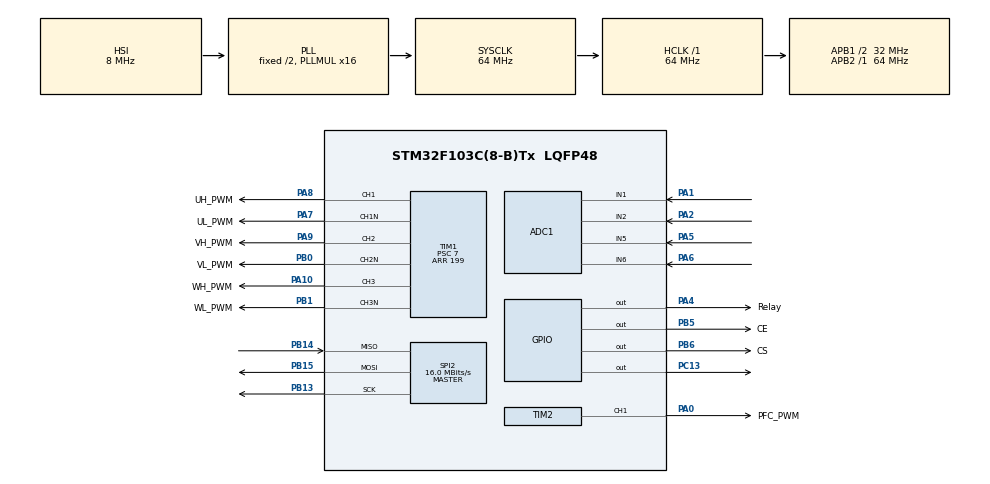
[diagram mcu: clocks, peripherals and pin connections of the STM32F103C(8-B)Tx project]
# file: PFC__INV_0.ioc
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ADC1.Channel-0\#ChannelRegularConversion=ADC_CHANNEL_1
ADC1.ContinuousConvMode=ENABLE
ADC1.ExternalTrigConv=ADC_EXTERNALTRIGCONV_T3_TRGO
ADC1.NbrOfConversion=1
ADC1.NbrOfConversionFlag=1
ADC1.Rank-0\#ChannelRegularConversion=1
ADC1.SamplingTime-0\#ChannelRegularConversion=ADC_SAMPLETIME_1CYCLE_5
ADC1.master=1
Dma.ADC1.0.Direction=DMA_PERIPH_TO_MEMORY
Dma.ADC1.0.Instance=DMA1_Channel1
Dma.ADC1.0.MemDataAlignment=DMA_MDATAALIGN_HALFWORD
Dma.ADC1.0.MemInc=DMA_MINC_ENABLE
Dma.ADC1.0.Mode=DMA_NORMAL
Dma.ADC1.0.PeriphDataAlignment=DMA_PDATAALIGN_HALFWORD
Dma.ADC1.0.PeriphInc=DMA_PINC_DISABLE
Dma.ADC1.0.Priority=DMA_PRIORITY_LOW
Dma.Request0=ADC1
Mcu.Family=STM32F1
Mcu.Name=STM32F103C(8-B)Tx
Mcu.Package=LQFP48
NVIC.DMA1_Channel1_IRQn=true\:0\:0\:false\:false\:true\:false\:true\:true
NVIC.PriorityGroup=NVIC_PRIORITYGROUP_4
NVIC.TIM1_UP_IRQn=true\:2\:0\:true\:false\:true\:true\:true\:true
PA0-WKUP.GPIO_Label=PFC_PWM
PA0-WKUP.Signal=S_TIM2_CH1_ETR
PA1.Signal=ADCx_IN1
PA10.GPIO_Label=WH_PWM
PA10.Signal=S_TIM1_CH3
PA13.Mode=Serial_Wire
PA13.Signal=SYS_JTMS-SWDIO
PA14.Mode=Serial_Wire
PA14.Signal=SYS_JTCK-SWCLK
PA2.Signal=ADCx_IN2
PA4.GPIO_Label=Relay
PA4.Signal=GPIO_Output
PA5.Signal=ADCx_IN5
PA6.Signal=ADCx_IN6
PA7.GPIO_Label=UL_PWM
PA7.Mode=PWM Generation1 CH1 CH1N
PA7.Signal=TIM1_CH1N
PA8.GPIO_Label=UH_PWM
PA8.Signal=S_TIM1_CH1
PA9.GPIO_Label=VH_PWM
PA9.Signal=S_TIM1_CH2
PB0.GPIO_Label=VL_PWM
PB0.Mode=PWM Generation2 CH2 CH2N
PB0.Signal=TIM1_CH2N
PB1.GPIO_Label=WL_PWM
PB1.Mode=PWM Generation3 CH3 CH3N
PB1.Signal=TIM1_CH3N
PB13.Mode=Full_Duplex_Master
PB13.Signal=SPI2_SCK
PB14.Mode=Full_Duplex_Master
PB14.Signal=SPI2_MISO
PB15.Mode=Full_Duplex_Master
PB15.Signal=SPI2_MOSI
PB5.GPIO_Label=CE
PB5.Signal=GPIO_Output
PB6.GPIO_Label=CS
PB6.Signal=GPIO_Output
PC13-TAMPER-RTC.Signal=GPIO_Output
ProjectManager.HeapSize=0x200
ProjectManager.StackSize=0x400
ProjectManager.TargetToolchain=STM32CubeIDE
RCC.ADCPresc=RCC_ADCPCLK2_DIV6
RCC.AHBFreq_Value=64000000
RCC.APB1CLKDivider=RCC_HCLK_DIV2
RCC.APB1Freq_Value=32000000
RCC.APB1TimFreq_Value=64000000
RCC.APB2Freq_Value=64000000
RCC.APB2TimFreq_Value=64000000
RCC.HCLKFreq_Value=64000000
RCC.PLLMUL=RCC_PLL_MUL16
RCC.SYSCLKFreq_VALUE=64000000
RCC.SYSCLKSource=RCC_SYSCLKSOURCE_PLLCLK
RCC.USBFreq_Value=64000000
SH.ADCx_IN1.0=ADC1_IN1,IN1
SH.ADCx_IN2.0=ADC1_IN2,IN2
SH.ADCx_IN5.0=ADC1_IN5,IN5
SH.ADCx_IN6.0=ADC1_IN6,IN6
SH.S_TIM1_CH1.0=TIM1_CH1,PWM Generation1 CH1 CH1N
SH.S_TIM1_CH2.0=TIM1_CH2,PWM Generation2 CH2 CH2N
SH.S_TIM1_CH3.0=TIM1_CH3,PWM Generation3 CH3 CH3N
SH.S_TIM2_CH1_ETR.0=TIM2_CH1,PWM Generation1 CH1
SPI2.CalculateBaudRate=16.0 MBits/s
SPI2.Direction=SPI_DIRECTION_2LINES
SPI2.Mode=SPI_MODE_MASTER
SPI2.VirtualType=VM_MASTER
TIM1.Channel-PWM\ Generation1\ CH1\ CH1N=TIM_CHANNEL_1
TIM1.Channel-PWM\ Generation2\ CH2\ CH2N=TIM_CHANNEL_2
TIM1.Channel-PWM\ Generation3\ CH3\ CH3N=TIM_CHANNEL_3
TIM1.CounterMode=TIM_COUNTERMODE_CENTERALIGNED1
TIM1.DeadTime=15
TIM1.Period=199
TIM1.Prescaler=7
TIM2.Channel-PWM\ Generation1\ CH1=TIM_CHANNEL_1
TIM2.Period=399
TIM3.Period=199
TIM3.Prescaler=63
TIM3.TIM_MasterOutputTrigger=TIM_TRGO_UPDATE
VP_TIM3_VS_ClockSourceINT.Mode=Internal
board=custom

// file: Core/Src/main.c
/* USER CODE BEGIN Header */
/**
  ******************************************************************************
  * @file           : main.c
  * @brief          : Main program body
  ******************************************************************************
  * @attention
  *
  * Copyright (c) 2025 STMicroelectronics.
  * All rights reserved.
  *
  * This software is licensed under terms that can be found in the LICENSE file
  * in the root directory of this software component.
  * If no LICENSE file comes with this software, it is provided AS-IS.
  *
  ******************************************************************************
  */
/* USER CODE END Header */
#include "main.h"

/* USER CODE BEGIN Includes */
#include "math.h"
#include <stdio.h>
#include <stdbool.h>
#include "MY_NRF24.h"
#include "string.h"
#include "stdlib.h"   // cho atoi()

#define LED_ON()  HAL_GPIO_WritePin(GPIOC, GPIO_PIN_13, GPIO_PIN_RESET)
#define LED_OFF() HAL_GPIO_WritePin(GPIOC, GPIO_PIN_13, GPIO_PIN_SET)
#define RX_ADDRESS   0x0101010101LL
#define TX_ADDRESS   0x0202020202LL

#define PWM_UPDATE_HZ      20000U
#define SVM_TABLE_MAX    2500

#define INV_SECTOR_WIDTH   (TWO_PI / 6.0f)
#define PWM_PERIOD_COUNTS  (htim1.Init.Period + 1)
#define FREQ_MIN   4.0f
#define FREQ_MAX   50.0f
#define PI          3.14159265
#define PWM_FREQ    5000.0        // 5kHz
#define Ts          (1.0 / PWM_FREQ)
#define VDC         24         // DC bus voltage
#define TWO_PI      (2 * PI)
#define RX_BUFFER_SIZE 20
float theta = 0.0;

float freq_out;
float t = 0.0;
float Vs, m, alpha, T1, T2, T0;

/* USER CODE END Includes */

/* USER CODE BEGIN PD */
#define ADC_TOTAL_SAMPLES        200      // số điểm cuối cùng để gửi
#define ADC_SAMPLES_PER_PACKET   8
#define ADC_TOTAL_PACKETS       25
#define FEEDBACK_PACKET_TYPE     0xA5

#define ADC_SAMPLE_RATE_HZ       5000U   // 200 mẫu / 40ms
#define ADC_CAPTURE_TIME_MS      40U     // 2 chu kì 50Hz

#define DUTY_MIN   0.05f
#define DUTY_MAX   0.95f
/* USER CODE END PD */

ADC_HandleTypeDef hadc1;
DMA_HandleTypeDef hdma_adc1;

SPI_HandleTypeDef hspi2;

TIM_HandleTypeDef htim1;
TIM_HandleTypeDef htim2;
TIM_HandleTypeDef htim3;

/* USER CODE BEGIN PV */
// --- THÔNG SỐ ĐỘNG CƠ CẬP NHẬT MỚI ---
// Cấu hình 4 kênh thượng tầng né hoàn toàn Wi-Fi giống bên Remote
const uint8_t HOPPING_CHANNELS[4] = {85, 100, 115, 125};
#define NUM_HOP_CHANNELS 4
//Biến toàn cục theo dõi kênh hiện tại của Biến tần khi Debug
volatile uint8_t current_receiver_channel = 0;
volatile uint32_t last_remote_heartbeat_tick = 0;

volatile float motor_cos_phi = 0.98f;     // Hệ số công suất
volatile float i_rms_set = 0.0f;          // Biến lưu kết quả dòng điện pha RMS đặt (Ampe)
// -------------------------------------
volatile float Vs_local;

volatile uint8_t tx_frame_active = 0;
volatile uint8_t tx_frame_done = 0;

volatile uint16_t svm_ccr1[SVM_TABLE_MAX];
volatile uint16_t svm_ccr2[SVM_TABLE_MAX];
volatile uint16_t svm_ccr3[SVM_TABLE_MAX];

volatile uint16_t svm_table_size = 100;
volatile uint16_t svm_index = 0;
volatile uint8_t  svm_enable = 0;
volatile uint8_t svm_need_rebuild = 0;
volatile uint32_t ramp_tick_div = 0;
volatile float last_freq_for_rebuild = 0.0f;

volatile bool ok;
volatile uint8_t adc_busy = 0;
volatile uint8_t adc_ready = 0;

#define ADC_CHANNELS 4
uint16_t adc_buffer[ADC_TOTAL_SAMPLES];
uint16_t adc_copy[ADC_TOTAL_SAMPLES];
volatile uint8_t adc_frame_id = 0;

volatile float V_F_K = 1.0f;
volatile float V_f_freq =  FREQ_MIN;
volatile float freq_cmd = FREQ_MIN;   // từ biến trở
volatile float freq_run = FREQ_MIN;   // dùng trong SVM
float target_freq = FREQ_MIN;
volatile bool status = 0.0f;
typedef struct __attribute__((packed))
{
    uint8_t type;          // FEEDBACK_PACKET_TYPE
    uint8_t state;         // on/off
    uint8_t frame_id;      // ID frame ADC
    uint8_t packet_id;     // 0..24
    uint16_t freq_set_x10; // Tần số đặt x10
    uint16_t freq_act_x10; // Tần số thực x10
    uint16_t rms_set_x10;  // Dòng đặt x10
    uint16_t rms_act_x10;  // Dòng thực / Điện áp Avg x10
    uint16_t min_adc;      // Đáy sóng (tính tại gốc)
    uint16_t max_adc;      // Đỉnh sóng (tính tại gốc)
    uint16_t samples[ADC_SAMPLES_PER_PACKET]; // Mảng 8 mẫu (16 bytes)
} FeedbackPacket_t;

// --- CÁC BIẾN CHO MÁY TRẠNG THÁI GỬI DỮ LIỆU ---
FeedbackPacket_t tx_packets_buffer[ADC_TOTAL_PACKETS];
volatile uint8_t packets_to_send = 0;
volatile uint8_t current_packet_idx = 0;
uint32_t last_tx_time = 0;
typedef struct {
     uint8_t cmd;
     uint8_t state;
     uint8_t speed;
     uint8_t wave_select; // Kênh sóng yêu cầu từ màn hình
 } Payload_t;

 Payload_t rx; // Biến lưu dữ liệu nhận được
 typedef struct {
     uint8_t on_off;
     uint8_t speed;
     uint8_t wave_select; // Lưu trạng thái kênh hiện tại
 } SystemState_t;

 SystemState_t system_state = {0,0,0};

 volatile uint8_t flag_new_data = 0;

	//Dieu che SVM
// void SVM_Update(void)
// {
//     // 1) Tính biên độ theo V/f
//     Vs = V_F_K * freq_run;
//     m  = Vs / VDC;
//
//     // Giới hạn modulation index
//     if (m > 0.866f) m = 0.866f;
//     if (m < 0.0f)   m = 0.0f;
//
//     // 2) Cập nhật góc điện
//     theta += TWO_PI * freq_run * Ts;
//
//     if (theta >= TWO_PI)
//         theta -= TWO_PI;
//     else if (theta < 0.0f)
//         theta += TWO_PI;
//
//     // 3) Xác định sector (1..6) và vị trí nội bộ trong sector
//     uint8_t sector = (uint8_t)(theta / INV_SECTOR_WIDTH);   // 0..5
//     float theta_sector = theta - ((float)sector * INV_SECTOR_WIDTH);
//     float u = theta_sector / INV_SECTOR_WIDTH;              // 0..1
//
//     // 4) Xấp xỉ nhẹ cho T1, T2 (bỏ sin/cos/sqrt/fmod)
//     //    Giữ nguyên tinh thần SVM: vector đầu giảm, vector sau tăng
//     float K = Ts * m;
//
//     T1 = K * (1.0f - u);
//     T2 = K * u;
//     T0 = Ts - T1 - T2;
//
//     if (T0 < 0.0f) T0 = 0.0f;
//
//     // 5) Tính duty cho 3 pha theo từng sector
//     float Ta, Tb, Tc;
//
//     switch (sector)
//     {
//         case 0: // sector 1
//             Ta = (T1 + T2 + T0 * 0.5f) / Ts;
//             Tb = (T2 + T0 * 0.5f) / Ts;
//             Tc = (T0 * 0.5f) / Ts;
//             break;
//
//         case 1: // sector 2
//             Ta = (T1 + T0 * 0.5f) / Ts;
//             Tb = (T1 + T2 + T0 * 0.5f) / Ts;
//             Tc = (T0 * 0.5f) / Ts;
//             break;
//
//         case 2: // sector 3
//             Ta = (T0 * 0.5f) / Ts;
//             Tb = (T1 + T2 + T0 * 0.5f) / Ts;
//             Tc = (T2 + T0 * 0.5f) / Ts;
//             break;
//
//         case 3: // sector 4
//             Ta = (T0 * 0.5f) / Ts;
//             Tb = (T1 + T0 * 0.5f) / Ts;
//             Tc = (T1 + T2 + T0 * 0.5f) / Ts;
//             break;
//
//         case 4: // sector 5
//             Ta = (T2 + T0 * 0.5f) / Ts;
//             Tb = (T0 * 0.5f) / Ts;
//             Tc = (T1 + T2 + T0 * 0.5f) / Ts;
//             break;
//
//         default: // sector 6
//             Ta = (T1 + T2 + T0 * 0.5f) / Ts;
//             Tb = (T0 * 0.5f) / Ts;
//             Tc = (T1 + T0 * 0.5f) / Ts;
//             break;
//     }
//
//     // 6) Chặn duty an toàn
//     if (Ta < 0.0f) Ta = 0.0f; if (Ta > 1.0f) Ta = 1.0f;
//     if (Tb < 0.0f) Tb = 0.0f; if (Tb > 1.0f) Tb = 1.0f;
//     if (Tc < 0.0f) Tc = 0.0f; if (Tc > 1.0f) Tc = 1.0f;
//
//     // 7) Ghi CCR
//     uint16_t ccr1 = (uint16_t)(Ta * PWM_PERIOD_COUNTS);
//     uint16_t ccr2 = (uint16_t)(Tb * PWM_PERIOD_COUNTS);
//     uint16_t ccr3 = (uint16_t)(Tc * PWM_PERIOD_COUNTS);
//
//     if (ccr1 > htim1.Init.Period) ccr1 = htim1.Init.Period;
//     if (ccr2 > htim1.Init.Period) ccr2 = htim1.Init.Period;
//     if (ccr3 > htim1.Init.Period) ccr3 = htim1.Init.Period;
//
//     __HAL_TIM_SET_COMPARE(&htim1, TIM_CHANNEL_1, ccr1);
//     __HAL_TIM_SET_COMPARE(&htim1, TIM_CHANNEL_2, ccr2);
//     __HAL_TIM_SET_COMPARE(&htim1, TIM_CHANNEL_3, ccr3);
// }
 void Build_SVM_Table(float fout_hz)
 {
     if (fout_hz < 0.1f)
     {
         svm_enable = 0;
         svm_table_size = 1;
         svm_index = 0;
         svm_ccr1[0] = 0;
         svm_ccr2[0] = 0;
         svm_ccr3[0] = 0;
         return;
     }

     if (fout_hz > 50.0f) fout_hz = 50.0f;

     uint16_t N = 500;

     if (N < 12) N = 12;
     if (N > SVM_TABLE_MAX) N = SVM_TABLE_MAX;

     svm_table_size = N;
       Vs_local = V_F_K * fout_hz;
     float m_local  = Vs_local / VDC;

     if (m_local > 0.866f) m_local = 0.866f;  // Mở rộng không gian vector lên kịch trần
     if (m_local < 0.0f)   m_local = 0.0f;

     for (uint16_t i = 0; i < N; i++)
     {
         float theta_local = TWO_PI * ((float)i / (float)N);

         uint8_t sector = (uint8_t)(theta_local / INV_SECTOR_WIDTH); // 0..5
         if (sector > 5) sector = 5;

         float theta_sector = theta_local - ((float)sector * INV_SECTOR_WIDTH);
         float u = theta_sector / INV_SECTOR_WIDTH; // 0..1

         // SVM nhẹ tuyến tính theo sector

         // SVM chuẩn dùng sin → sóng mượt
         float T1n = 1.73205f * m_local * sinf(INV_SECTOR_WIDTH - theta_sector);
                  float T2n = 1.73205f * m_local * sinf(theta_sector);

                  float sum_T = T1n + T2n;
                  float T0n;

                  // Nếu tổng thời gian vượt quá 1 chu kỳ PWM, thu nhỏ T1 và T2 theo đúng tỷ lệ
                  if (sum_T > 1.0f)
                  {
                      T1n = T1n / sum_T;
                      T2n = T2n / sum_T;
                      T0n = 0.0f;
                  }
                  else
                  {
                      T0n = 1.0f - sum_T;
                  }

         float Ta, Tb, Tc;

         switch (sector)
         {
             case 0:
                 Ta = T1n + T2n + T0n * 0.5f;
                 Tb = T2n + T0n * 0.5f;
                 Tc = T0n * 0.5f;
                 break;

             case 1:
                 Ta = T1n + T0n * 0.5f;
                 Tb = T1n + T2n + T0n * 0.5f;
                 Tc = T0n * 0.5f;
                 break;

             case 2:
                 Ta = T0n * 0.5f;
                 Tb = T1n + T2n + T0n * 0.5f;
                 Tc = T2n + T0n * 0.5f;
                 break;

             case 3:
                 Ta = T0n * 0.5f;
                 Tb = T1n + T0n * 0.5f;
                 Tc = T1n + T2n + T0n * 0.5f;
                 break;

             case 4:
                 Ta = T2n + T0n * 0.5f;
                 Tb = T0n * 0.5f;
                 Tc = T1n + T2n + T0n * 0.5f;
                 break;

             default:
                 Ta = T1n + T2n + T0n * 0.5f;
                 Tb = T0n * 0.5f;
                 Tc = T1n + T0n * 0.5f;
                 break;
         }

         // Giới hạn duty an toàn
         if (Ta < DUTY_MIN) Ta = DUTY_MIN;
         if (Ta > DUTY_MAX) Ta = DUTY_MAX;

         if (Tb < DUTY_MIN) Tb = DUTY_MIN;
         if (Tb > DUTY_MAX) Tb = DUTY_MAX;

         if (Tc < DUTY_MIN) Tc = DUTY_MIN;
         if (Tc > DUTY_MAX) Tc = DUTY_MAX;

         uint16_t ccr1 = (uint16_t)(Ta * htim1.Init.Period);
         uint16_t ccr2 = (uint16_t)(Tb * htim1.Init.Period);
         uint16_t ccr3 = (uint16_t)(Tc * htim1.Init.Period);

         if (ccr1 > htim1.Init.Period) ccr1 = htim1.Init.Period;
         if (ccr2 > htim1.Init.Period) ccr2 = htim1.Init.Period;
         if (ccr3 > htim1.Init.Period) ccr3 = htim1.Init.Period;

         svm_ccr1[i] = ccr1;
         svm_ccr2[i] = ccr2;
         svm_ccr3[i] = ccr3;
     }

     svm_enable = 1;
     // --- THÊM CODE TÍNH DÒNG ĐIỆN RMS ĐẶT ---
          // Vs_local đang là điện áp pha đỉnh (Peak Phase Voltage)
          // 1. Tính điện áp pha RMS = Peak / căn(2)
          float v_phase_rms_set = Vs_local / 1.4142135f;

          // 1. Khai báo thông số tải thực tế đang cắm

              float motor_cos_phi = 0.98f;     // Hệ số công suất 0.98

 }
void VF_Frequency_Ramp(float target_freq);
	//Cap nhat SVM
void HAL_TIM_PeriodElapsedCallback(TIM_HandleTypeDef *htim)
{
    if (htim->Instance == TIM1)
    {
        // =====================================================
        // 1) Xuất duty PWM từ bảng SVM (cực nhẹ, cực nhanh)
        // =====================================================
        // CHỈ XUẤT XUNG KHI HỆ THỐNG ĐANG BẬT (system_state.on_off == 1)
        if (svm_enable && svm_table_size > 0 && system_state.on_off == 1)
        {
            __HAL_TIM_SET_COMPARE(&htim1, TIM_CHANNEL_1, svm_ccr1[svm_index]);
            __HAL_TIM_SET_COMPARE(&htim1, TIM_CHANNEL_2, svm_ccr2[svm_index]);
            __HAL_TIM_SET_COMPARE(&htim1, TIM_CHANNEL_3, svm_ccr3[svm_index]);

            static float svm_phase = 0.0f;

            svm_phase += freq_run / PWM_UPDATE_HZ * svm_table_size;

            if (svm_phase >= svm_table_size)
                svm_phase -= svm_table_size;

            svm_index = (uint16_t)svm_phase;
        }
        else
        {
            // NẾU TẮT: Ép Duty Cycle về 0
            __HAL_TIM_SET_COMPARE(&htim1, TIM_CHANNEL_1, 0);
            __HAL_TIM_SET_COMPARE(&htim1, TIM_CHANNEL_2, 0);
            __HAL_TIM_SET_COMPARE(&htim1, TIM_CHANNEL_3, 0);
        }

        // =====================================================
        // 2) Ramp tần số ngay trong interrupt nhưng CHỈ RẤT NHẸ
        //    TIM1 đang ~5kHz => 5 interrupt ~ 1ms
        // =====================================================
        ramp_tick_div++;
        if (ramp_tick_div >= 5)
        {
            ramp_tick_div = 0;

            VF_Frequency_Ramp(target_freq);
            freq_run = V_f_freq;

            if (fabsf(freq_run - last_freq_for_rebuild) >= 0.1f)
            {
                svm_need_rebuild = 1;
                last_freq_for_rebuild = freq_run;
            }
        }
    }
}

/* USER CODE END PV */

void SystemClock_Config(void);
static void MX_GPIO_Init(void);
static void MX_DMA_Init(void);
static void MX_TIM1_Init(void);
static void MX_TIM2_Init(void);
static void MX_SPI2_Init(void);
static void MX_ADC1_Init(void);
static void MX_TIM3_Init(void);
/* USER CODE BEGIN PFP */
static bool NRF24_isInitialized(void);
void Task_RF_Receive(void);
void Process_ADC_And_RF_Transmit(void);
uint16_t Read_ADC(void);
static void NRF24_Recovery(void);
void Task_RF(void);
void NRF24_Seek_And_Lock_Remote(void);
void Task_SVM_Background(void);
void Start_ADC_Capture_200Samples(void);
void Calculate_Actual_Params(uint16_t *buffer, float f_set, float *out_freq_act, float *out_val, uint8_t sel);
/* USER CODE END PFP */

/* USER CODE BEGIN 0 */
static bool NRF24_isInitialized(void)
{
  // Kiểm tra thanh ghi SETUP_AW (1..3 ứng với 3..5 bytes address)
  uint8_t setup = NRF24_read_register(REG_SETUP_AW);
  return (setup >= 1 && setup <= 3);
}
/* USER CODE END 0 */

int main(void)
{

  /* MCU Configuration--------------------------------------------------------*/

  /* Reset of all peripherals, Initializes the Flash interface and the Systick. */
  HAL_Init();

  /* Configure the system clock */
  SystemClock_Config();

  /* Initialize all configured peripherals */
  MX_GPIO_Init();
  MX_DMA_Init();
  MX_TIM1_Init();
  MX_TIM2_Init();
  MX_SPI2_Init();
  MX_ADC1_Init();
  MX_TIM3_Init();
  /* USER CODE BEGIN 2 */
NRF24_begin(GPIOB, GPIO_PIN_6, GPIO_PIN_5, hspi2);// khởi tạo nrf CS ,CE
    // Nếu init ok -> bật LED 100ms để báo ready
     if (NRF24_isInitialized())
     {
  	   HAL_GPIO_WritePin(GPIOC, GPIO_PIN_13, GPIO_PIN_RESET);

     }
     else

     {
    	 while(1)
    	     	   {

    		 HAL_GPIO_TogglePin(GPIOC, GPIO_PIN_13);
    	     		           HAL_Delay(100); // Nháy nhanh 100ms
    	     	   }

     }
     // Cấu hình khớp TX
            NRF24_setPALevel(RF24_PA_0dB);
            NRF24_setCRCLength(RF24_CRC_16);    // CRC 16-bit
            NRF24_setAutoAck(true);
            NRF24_setDataRate(RF24_250KBPS);
           NRF24_setChannel(85);
            NRF24_enableDynamicPayloads();
            NRF24_openReadingPipe(1, RX_ADDRESS);
            NRF24_openWritingPipe(TX_ADDRESS);
            NRF24_flush_rx();
          // Vào chế độ lắng nghe
              NRF24_startListening();
             NRF24_Seek_And_Lock_Remote();
  //Code PFC
  HAL_Delay(500);
  HAL_GPIO_WritePin(GPIOA, GPIO_PIN_4, 1);
  HAL_Delay(500);
  HAL_TIM_PWM_Start(&htim2, TIM_CHANNEL_1);
  //duty pwm for PFC IGBT
  float dutyPFC = 0.2;
  __HAL_TIM_SET_COMPARE(&htim2, TIM_CHANNEL_1, dutyPFC * (htim2.Init.Period + 1) -1);

  //Code Inverter
  //Turn on timer1 for SVM
  HAL_TIM_PWM_Start(&htim1, TIM_CHANNEL_1);
  HAL_TIM_PWM_Start(&htim1, TIM_CHANNEL_2);
  HAL_TIM_PWM_Start(&htim1, TIM_CHANNEL_3);

  HAL_TIMEx_PWMN_Start(&htim1, TIM_CHANNEL_1);
  HAL_TIMEx_PWMN_Start(&htim1, TIM_CHANNEL_2);
  HAL_TIMEx_PWMN_Start(&htim1, TIM_CHANNEL_3);

  __HAL_TIM_SET_COMPARE(&htim1, TIM_CHANNEL_1, 0); // Duty 0% → low-side mở
  __HAL_TIM_SET_COMPARE(&htim1, TIM_CHANNEL_2, 0);
  __HAL_TIM_SET_COMPARE(&htim1, TIM_CHANNEL_3, 0);
  __HAL_TIM_ENABLE_IT(&htim1, TIM_IT_UPDATE);
  //nap tu bootstrap
  HAL_Delay(100);
  V_f_freq = FREQ_MIN;
  freq_run = FREQ_MIN;
  V_F_K = 1.0f;
  Build_SVM_Table(freq_run);
  svm_enable = 1;
  HAL_TIM_Base_Start_IT(&htim1);	  // Start TIM1 interrupt for SVM update

         Start_ADC_Capture_200Samples();
  /* USER CODE END 2 */

  /* Infinite loop */
  /* USER CODE BEGIN WHILE */
  while (1)
  {

	  // 1) Nhận lệnh RF càng nhanh càng tốt
	      Task_RF_Receive();

	      // 2) Rebuild bảng SVM ở nền khi interrupt yêu cầu
	      Task_SVM_Background();

	      // 3) Gửi feedback ADC / RF

	    Process_ADC_And_RF_Transmit();
	    // ĐẶT BỘ BẢO VỆ MẤT SÓNG Ở ĐÂY (KIỂM TRA LIÊN TỤC TRONG MAIN)
	          // =================================================================
	          if (HAL_GetTick() - last_remote_heartbeat_tick > 3000)
	          {
	              // 1. CẮT XUNG BẢO VỆ ĐỘNG CƠ NGAY LẬP TỨC
	              __HAL_TIM_MOE_DISABLE(&htim1);

	              // 2. Trả các biến trạng thái về 0 an toàn
	              system_state.on_off = 0;
	              target_freq = FREQ_MIN;
	              freq_run = FREQ_MIN;
	              freq_cmd = FREQ_MIN;

	              // 3. Reset lại chip RF đề phòng kẹt phần cứng
	              NRF24_Recovery();
	              tx_frame_active    = 0;
	              packets_to_send    = 0;
	          //    retry_count        = 0;
	              adc_busy           = 0;

	              // 4. CHẶN ĐỨNG CHƯƠNG TRÌNH: Ép đi dò lại kênh
	              // Hàm này sẽ giam mạch biến tần ở đây, động cơ tắt hẳn
	              // Cho đến khi nào Remote được bật lại và phát lệnh, hàm mới cho thoát ra
	              NRF24_Seek_And_Lock_Remote();

	              // 5. Khi đã tìm lại được Remote, reset đồng hồ và chạy mẻ ADC mới
	              last_remote_heartbeat_tick = HAL_GetTick();
	              Start_ADC_Capture_200Samples();
	          }
    /* USER CODE END WHILE */

  }
}

void SystemClock_Config(void)
{
  RCC_OscInitTypeDef RCC_OscInitStruct = {0};
  RCC_ClkInitTypeDef RCC_ClkInitStruct = {0};
  RCC_PeriphCLKInitTypeDef PeriphClkInit = {0};

  /** Initializes the RCC Oscillators according to the specified parameters
  * in the RCC_OscInitTypeDef structure.
  */
  RCC_OscInitStruct.OscillatorType = RCC_OSCILLATORTYPE_HSI;
  RCC_OscInitStruct.HSIState = RCC_HSI_ON;
  RCC_OscInitStruct.HSICalibrationValue = RCC_HSICALIBRATION_DEFAULT;
  RCC_OscInitStruct.PLL.PLLState = RCC_PLL_ON;
  RCC_OscInitStruct.PLL.PLLSource = RCC_PLLSOURCE_HSI_DIV2;
  RCC_OscInitStruct.PLL.PLLMUL = RCC_PLL_MUL16;
  if (HAL_RCC_OscConfig(&RCC_OscInitStruct) != HAL_OK)
  {
    Error_Handler();
  }

  /** Initializes the CPU, AHB and APB buses clocks
  */
  RCC_ClkInitStruct.ClockType = RCC_CLOCKTYPE_HCLK|RCC_CLOCKTYPE_SYSCLK
                              |RCC_CLOCKTYPE_PCLK1|RCC_CLOCKTYPE_PCLK2;
  RCC_ClkInitStruct.SYSCLKSource = RCC_SYSCLKSOURCE_PLLCLK;
  RCC_ClkInitStruct.AHBCLKDivider = RCC_SYSCLK_DIV1;
  RCC_ClkInitStruct.APB1CLKDivider = RCC_HCLK_DIV2;
  RCC_ClkInitStruct.APB2CLKDivider = RCC_HCLK_DIV1;

  if (HAL_RCC_ClockConfig(&RCC_ClkInitStruct, FLASH_LATENCY_2) != HAL_OK)
  {
    Error_Handler();
  }
  PeriphClkInit.PeriphClockSelection = RCC_PERIPHCLK_ADC;
  PeriphClkInit.AdcClockSelection = RCC_ADCPCLK2_DIV6;
  if (HAL_RCCEx_PeriphCLKConfig(&PeriphClkInit) != HAL_OK)
  {
    Error_Handler();
  }
}

static void MX_ADC1_Init(void)
{

  ADC_ChannelConfTypeDef sConfig = {0};

  /** Common config
  */
  hadc1.Instance = ADC1;
  hadc1.Init.ScanConvMode = ADC_SCAN_DISABLE;
  hadc1.Init.ContinuousConvMode = DISABLE;
  hadc1.Init.DiscontinuousConvMode = DISABLE;
  hadc1.Init.ExternalTrigConv = ADC_EXTERNALTRIGCONV_T3_TRGO;
  hadc1.Init.DataAlign = ADC_DATAALIGN_RIGHT;
  hadc1.Init.NbrOfConversion = 1;
  if (HAL_ADC_Init(&hadc1) != HAL_OK)
  {
    Error_Handler();
  }

  /** Configure Regular Channel
  */
  sConfig.Channel = ADC_CHANNEL_1;
  sConfig.Rank = ADC_REGULAR_RANK_1;
  sConfig.SamplingTime = ADC_SAMPLETIME_1CYCLE_5;
  if (HAL_ADC_ConfigChannel(&hadc1, &sConfig) != HAL_OK)
  {
    Error_Handler();
  }

}

static void MX_SPI2_Init(void)
{

  /* SPI2 parameter configuration*/
  hspi2.Instance = SPI2;
  hspi2.Init.Mode = SPI_MODE_MASTER;
  hspi2.Init.Direction = SPI_DIRECTION_2LINES;
  hspi2.Init.DataSize = SPI_DATASIZE_8BIT;
  hspi2.Init.CLKPolarity = SPI_POLARITY_LOW;
  hspi2.Init.CLKPhase = SPI_PHASE_1EDGE;
  hspi2.Init.NSS = SPI_NSS_SOFT;
  hspi2.Init.BaudRatePrescaler = SPI_BAUDRATEPRESCALER_2;
  hspi2.Init.FirstBit = SPI_FIRSTBIT_MSB;
  hspi2.Init.TIMode = SPI_TIMODE_DISABLE;
  hspi2.Init.CRCCalculation = SPI_CRCCALCULATION_DISABLE;
  hspi2.Init.CRCPolynomial = 10;
  if (HAL_SPI_Init(&hspi2) != HAL_OK)
  {
    Error_Handler();
  }

}

static void MX_TIM1_Init(void)
{

  TIM_MasterConfigTypeDef sMasterConfig = {0};
  TIM_OC_InitTypeDef sConfigOC = {0};
  TIM_BreakDeadTimeConfigTypeDef sBreakDeadTimeConfig = {0};

  htim1.Instance = TIM1;
  htim1.Init.Prescaler = 7;
  htim1.Init.CounterMode = TIM_COUNTERMODE_CENTERALIGNED1;
  htim1.Init.Period = 199;
  htim1.Init.ClockDivision = TIM_CLOCKDIVISION_DIV1;
  htim1.Init.RepetitionCounter = 1;
  htim1.Init.AutoReloadPreload = TIM_AUTORELOAD_PRELOAD_DISABLE;
  if (HAL_TIM_PWM_Init(&htim1) != HAL_OK)
  {
    Error_Handler();
  }
  sMasterConfig.MasterOutputTrigger = TIM_TRGO_RESET;
  sMasterConfig.MasterSlaveMode = TIM_MASTERSLAVEMODE_DISABLE;
  if (HAL_TIMEx_MasterConfigSynchronization(&htim1, &sMasterConfig) != HAL_OK)
  {
    Error_Handler();
  }
  sConfigOC.OCMode = TIM_OCMODE_PWM1;
  sConfigOC.Pulse = 0;
  sConfigOC.OCPolarity = TIM_OCPOLARITY_HIGH;
  sConfigOC.OCNPolarity = TIM_OCNPOLARITY_HIGH;
  sConfigOC.OCFastMode = TIM_OCFAST_DISABLE;
  sConfigOC.OCIdleState = TIM_OCIDLESTATE_RESET;
  sConfigOC.OCNIdleState = TIM_OCNIDLESTATE_RESET;
  if (HAL_TIM_PWM_ConfigChannel(&htim1, &sConfigOC, TIM_CHANNEL_1) != HAL_OK)
  {
    Error_Handler();
  }
  if (HAL_TIM_PWM_ConfigChannel(&htim1, &sConfigOC, TIM_CHANNEL_2) != HAL_OK)
  {
    Error_Handler();
  }
  if (HAL_TIM_PWM_ConfigChannel(&htim1, &sConfigOC, TIM_CHANNEL_3) != HAL_OK)
  {
    Error_Handler();
  }
  sBreakDeadTimeConfig.OffStateRunMode = TIM_OSSR_DISABLE;
  sBreakDeadTimeConfig.OffStateIDLEMode = TIM_OSSI_DISABLE;
  sBreakDeadTimeConfig.LockLevel = TIM_LOCKLEVEL_OFF;
  sBreakDeadTimeConfig.DeadTime = 15;
  sBreakDeadTimeConfig.BreakState = TIM_BREAK_DISABLE;
  sBreakDeadTimeConfig.BreakPolarity = TIM_BREAKPOLARITY_HIGH;
  sBreakDeadTimeConfig.AutomaticOutput = TIM_AUTOMATICOUTPUT_DISABLE;
  if (HAL_TIMEx_ConfigBreakDeadTime(&htim1, &sBreakDeadTimeConfig) != HAL_OK)
  {
    Error_Handler();
  }
  HAL_TIM_MspPostInit(&htim1);

}

static void MX_TIM2_Init(void)
{

  TIM_MasterConfigTypeDef sMasterConfig = {0};
  TIM_OC_InitTypeDef sConfigOC = {0};

  htim2.Instance = TIM2;
  htim2.Init.Prescaler = 0;
  htim2.Init.CounterMode = TIM_COUNTERMODE_UP;
  htim2.Init.Period = 399;
  htim2.Init.ClockDivision = TIM_CLOCKDIVISION_DIV1;
  htim2.Init.AutoReloadPreload = TIM_AUTORELOAD_PRELOAD_DISABLE;
  if (HAL_TIM_PWM_Init(&htim2) != HAL_OK)
  {
    Error_Handler();
  }
  sMasterConfig.MasterOutputTrigger = TIM_TRGO_RESET;
  sMasterConfig.MasterSlaveMode = TIM_MASTERSLAVEMODE_DISABLE;
  if (HAL_TIMEx_MasterConfigSynchronization(&htim2, &sMasterConfig) != HAL_OK)
  {
    Error_Handler();
  }
  sConfigOC.OCMode = TIM_OCMODE_PWM1;
  sConfigOC.Pulse = 0;
  sConfigOC.OCPolarity = TIM_OCPOLARITY_HIGH;
  sConfigOC.OCFastMode = TIM_OCFAST_DISABLE;
  if (HAL_TIM_PWM_ConfigChannel(&htim2, &sConfigOC, TIM_CHANNEL_1) != HAL_OK)
  {
    Error_Handler();
  }
  HAL_TIM_MspPostInit(&htim2);

}

static void MX_TIM3_Init(void)
{

  TIM_ClockConfigTypeDef sClockSourceConfig = {0};
  TIM_MasterConfigTypeDef sMasterConfig = {0};

  htim3.Instance = TIM3;
  htim3.Init.Prescaler = 63;
  htim3.Init.CounterMode = TIM_COUNTERMODE_UP;
  htim3.Init.Period = 199;
  htim3.Init.ClockDivision = TIM_CLOCKDIVISION_DIV1;
  htim3.Init.AutoReloadPreload = TIM_AUTORELOAD_PRELOAD_DISABLE;
  if (HAL_TIM_Base_Init(&htim3) != HAL_OK)
  {
    Error_Handler();
  }
  sClockSourceConfig.ClockSource = TIM_CLOCKSOURCE_INTERNAL;
  if (HAL_TIM_ConfigClockSource(&htim3, &sClockSourceConfig) != HAL_OK)
  {
    Error_Handler();
  }
  sMasterConfig.MasterOutputTrigger = TIM_TRGO_UPDATE;
  sMasterConfig.MasterSlaveMode = TIM_MASTERSLAVEMODE_DISABLE;
  if (HAL_TIMEx_MasterConfigSynchronization(&htim3, &sMasterConfig) != HAL_OK)
  {
    Error_Handler();
  }

}

static void MX_DMA_Init(void)
{

  /* DMA controller clock enable */
  __HAL_RCC_DMA1_CLK_ENABLE();

  /* DMA interrupt init */
  /* DMA1_Channel1_IRQn interrupt configuration */
  HAL_NVIC_SetPriority(DMA1_Channel1_IRQn, 0, 0);
  HAL_NVIC_EnableIRQ(DMA1_Channel1_IRQn);

}

static void MX_GPIO_Init(void)
{
  GPIO_InitTypeDef GPIO_InitStruct = {0};

  /* GPIO Ports Clock Enable */
  __HAL_RCC_GPIOC_CLK_ENABLE();
  __HAL_RCC_GPIOA_CLK_ENABLE();
  __HAL_RCC_GPIOB_CLK_ENABLE();

  /*Configure GPIO pin Output Level */
  HAL_GPIO_WritePin(GPIOC, GPIO_PIN_13, GPIO_PIN_RESET);

  /*Configure GPIO pin Output Level */
  HAL_GPIO_WritePin(Relay_GPIO_Port, Relay_Pin, GPIO_PIN_RESET);

  /*Configure GPIO pin Output Level */
  HAL_GPIO_WritePin(GPIOB, CE_Pin|CS_Pin, GPIO_PIN_RESET);

  /*Configure GPIO pin : PC13 */
  GPIO_InitStruct.Pin = GPIO_PIN_13;
  GPIO_InitStruct.Mode = GPIO_MODE_OUTPUT_PP;
  GPIO_InitStruct.Pull = GPIO_NOPULL;
  GPIO_InitStruct.Speed = GPIO_SPEED_FREQ_LOW;
  HAL_GPIO_Init(GPIOC, &GPIO_InitStruct);

  /*Configure GPIO pin : Relay_Pin */
  GPIO_InitStruct.Pin = Relay_Pin;
  GPIO_InitStruct.Mode = GPIO_MODE_OUTPUT_PP;
  GPIO_InitStruct.Pull = GPIO_NOPULL;
  GPIO_InitStruct.Speed = GPIO_SPEED_FREQ_LOW;
  HAL_GPIO_Init(Relay_GPIO_Port, &GPIO_InitStruct);

  /*Configure GPIO pins : CE_Pin CS_Pin */
  GPIO_InitStruct.Pin = CE_Pin|CS_Pin;
  GPIO_InitStruct.Mode = GPIO_MODE_OUTPUT_PP;
  GPIO_InitStruct.Pull = GPIO_NOPULL;
  GPIO_InitStruct.Speed = GPIO_SPEED_FREQ_LOW;
  HAL_GPIO_Init(GPIOB, &GPIO_InitStruct);

}

/* USER CODE BEGIN 4 */
void Task_RF_Receive(void)
{
    if (NRF24_available())
    {

        memset(&rx, 0, sizeof(rx));
        NRF24_read(&rx, sizeof(rx));

        if (rx.cmd == 1)

        {
        	last_remote_heartbeat_tick = HAL_GetTick();
            system_state.on_off = rx.state;
            system_state.speed  = rx.speed;

            // ĐỔI TỐC ĐỘ LẤY MẪU THEO YÊU CẦU SÓNG
            if (system_state.wave_select != rx.wave_select)
            {
                system_state.wave_select = rx.wave_select;
                float f_sample_base = freq_run;
                                if (f_sample_base < 0.1f) f_sample_base = 0.1f;

                                uint32_t new_arr = (uint32_t)(10000.0f / f_sample_base) - 1;
                                if (new_arr > 65535) new_arr = 65535;

                                __HAL_TIM_SET_AUTORELOAD(&htim3, new_arr);
            }

            flag_new_data = 1;

            if(system_state.on_off == 1)
            {
                 target_freq = FREQ_MIN + (system_state.speed / 100.0f) * (FREQ_MAX - FREQ_MIN);
                 __HAL_TIM_MOE_ENABLE(&htim1);
            }
            else
            {
                 target_freq = FREQ_MIN;
                 __HAL_TIM_MOE_DISABLE(&htim1);
            }
            freq_cmd = target_freq;
        }
    }
}
uint16_t Read_ADC(void)
{
    uint16_t value = 0;

    HAL_ADC_Start(&hadc1);
    HAL_ADC_PollForConversion(&hadc1, 10);
    value = HAL_ADC_GetValue(&hadc1);
    HAL_ADC_Stop(&hadc1);

    return value;
}

void VF_Frequency_Ramp(float target_freq)
{
    // ===============================================================
    // 1. THÊM BỘ SỐ SÀN: TẠO "VÙNG ĐI CHẬM" ĐỂ CỨU ÁP Ở 10HZ
    // ===============================================================
    float current_freq_step;

    // Nếu tần số đang loanh quanh mốc yếu áp (8Hz đến 12Hz)
    // Phải đi siêu chậm để rotor bám kịp từ trường, chống vọt dòng
    if (V_f_freq >= 19.0f && V_f_freq <= 23.0f) {
        current_freq_step = 0.0005f;
    } else {
        current_freq_step = 0.0032f; // Ngoài vùng đó thì tăng tốc độ bình thường
    }

    /* 2. Giới hạn tần số mục tiêu */
    if(target_freq < FREQ_MIN) target_freq = FREQ_MIN;
    if(target_freq > FREQ_MAX) target_freq = FREQ_MAX;

    /* 3. CHỈ RAMP TẦN SỐ (Không dùng -= VF_STEP ở đây nữa) */
    if(V_f_freq < target_freq)
    {
        V_f_freq += current_freq_step;
        if(V_f_freq > target_freq) V_f_freq = target_freq;
    }
    else if(V_f_freq > target_freq)
    {
        V_f_freq -= current_freq_step;
        if(V_f_freq < target_freq) V_f_freq = target_freq;
    }

    // ===============================================================

    // ===============================================================
    if (V_f_freq <= 4.0f)
    {
        V_F_K = 0.65f;
    }
    else if (V_f_freq <= 20.0f)
    {
        // Công thức đường thẳng thay cho việc trừ dồn:
        // Đảm bảo 100% khi V_f_freq = 10.0 thì V_F_K = 0.456000
        V_F_K = 0.65f - 0.016875f * (V_f_freq - 4.0f);
    }
    else
    {
        // Quá 10Hz là chốt cứng ở 0.456 mãi mãi
        V_F_K = 0.38f;
    }

    /* 5. Chốt chặn an toàn cuối cùng */
    if(V_F_K > 0.65f) V_F_K = 0.65f;
    if(V_F_K < 0.38f) V_F_K = 0.38;
}
void Process_ADC_And_RF_Transmit(void)
{
    static uint8_t retry_count = 0;
    static uint8_t  fail_count       = 0;        // FIX: Đếm lỗi trong 1 frame
    static uint32_t frame_start_time = 0;        // FIX: Đồng hồ bắt đầu frame

    if (adc_ready == 1 && tx_frame_active == 0)
    {
        adc_ready = 0;
        tx_frame_active = 1;
        tx_frame_done = 0;
        fail_count     = 0;                         // FIX: Reset bộ đếm lỗi
        frame_start_time = HAL_GetTick();           // FIX: Ghi nhận thời điểm bắt đầu

        uint8_t sel = system_state.wave_select;
                if(sel > 2) sel = 0;

                // COPY TRỰC TIẾP: Vì mảng gốc giờ đã là 200 điểm của đúng sóng cần thiết
        memcpy(adc_copy, adc_buffer, sizeof(adc_buffer));
        // 1. BỘ LỌC ĐỒ THỊ (WAVEFORM FILTER) CHO I_CUON_CAM VÀ U_DC
        // 1. TÌM MIN/MAX CỦA ĐỒ THỊ NGAY TỪ ĐẦU (BẮT DÒNG ĐỈNH)
                // =======================================================
        // =======================================================
                // 1. LỌC GAI NHIỄU ĐỈNH (CHỐNG KÍCH HOẠT ẢO KHỐI BẢO VỆ DO GAI XUNG IGBT)
                // =======================================================
                uint16_t local_min = 4095;
                uint16_t local_max = 0;

                // Quét lọc trung bình trượt 3 điểm để san phẳng các gai nhọn lọt cuộn cảm
                for (int i = 1; i < ADC_TOTAL_SAMPLES - 1; i++)
                {
                    uint16_t filtered_sample = (adc_copy[i-1] + adc_copy[i] + adc_copy[i+1]) / 3;
                    if (filtered_sample < local_min) local_min = filtered_sample;
                    if (filtered_sample > local_max) local_max = filtered_sample;
                }
                if (local_max == local_min) local_max = local_min + 1; // Chống chia 0
                // =======================================================
                // 2. CHỐT CHẶN BẢO VỆ THEO DÒNG ĐỈNH (PEAK CURRENT) -10A -> 10A
                // =======================================================
                // Tính toán dòng điện đỉnh âm và đỉnh dương ra Ampe thực tế
                float v_min_pin = (float)local_min * 3.3f / 4095.0f;
                float v_max_pin = (float)local_max * 3.3f / 4095.0f;

                float peak_current_min = (v_min_pin - 1.5f) / (8.2f * 0.68f * 0.025f);
                float peak_current_max = (v_max_pin - 1.5f) / (8.2f * 0.68f * 0.025f);

                // NGƯỠNG NGẮT: Cài đặt ở 9.5A và -9.5A (An toàn tuyệt đối trong dải 10A)
                if (peak_current_max > 9.5f || peak_current_min < -9.5f)
                {
                    // 1. Khóa cứng ngõ ra PWM phần cứng ngay lập tức
                    __HAL_TIM_MOE_DISABLE(&htim1);
                    __HAL_TIM_SET_COMPARE(&htim1, TIM_CHANNEL_1, 0);
                    __HAL_TIM_SET_COMPARE(&htim1, TIM_CHANNEL_2, 0);
                    __HAL_TIM_SET_COMPARE(&htim1, TIM_CHANNEL_3, 0);

                    // 2. Chuyển trạng thái hệ thống về OFF
                    system_state.on_off = 0;
                    svm_enable = 0;

                    // 3. Reset tần số về mức an toàn ban đầu
                    target_freq = FREQ_MIN;
                    freq_run = FREQ_MIN;
                    freq_cmd = FREQ_MIN;

                    // 4. Bật đèn LED báo hiệu lỗi Quá dòng
                    LED_ON();
                }

                // =======================================================
                // 3. TÍNH TOÁN CÁC THÔNG SỐ RMS VÀ TẦN SỐ ĐỂ HIỂN THỊ
                // =======================================================
                float act_freq = 0;
                float act_val = 0.0f;
                Calculate_Actual_Params(adc_copy, freq_run, &act_freq, &act_val, sel);
                // 1. Tính điện áp pha RMS hiện tại
                                float v_phase_rms = Vs_local / 1.4142135f;

                                // 2. Tính CÔNG SUẤT THỰC TẾ đang tiêu thụ (Watt)
                                float power_act = 3.0f * v_phase_rms * act_val * motor_cos_phi;
                // =======================================================
                // ĐÓNG GÓI SIÊU GỌN GÀNG VÀO 25 GÓI TIN
                // =======================================================
                for(uint8_t pkt_id = 0; pkt_id < ADC_TOTAL_PACKETS; pkt_id++)
                {
                    memset(&tx_packets_buffer[pkt_id], 0, sizeof(FeedbackPacket_t));

                    tx_packets_buffer[pkt_id].type          = FEEDBACK_PACKET_TYPE;
                    tx_packets_buffer[pkt_id].state         = system_state.on_off;
                    tx_packets_buffer[pkt_id].frame_id      = adc_frame_id;
                    tx_packets_buffer[pkt_id].packet_id     = pkt_id;

                    // Truyền đi chung 1 kiểu thông số
                                tx_packets_buffer[pkt_id].freq_set_x10  = (uint16_t)(target_freq * 10.0f);
                                tx_packets_buffer[pkt_id].freq_act_x10  = (uint16_t)(act_freq * 10.0f);
                                tx_packets_buffer[pkt_id].rms_set_x10   = 0;
                                tx_packets_buffer[pkt_id].rms_act_x10   = (uint16_t)(power_act * 10.0f);
                    // Nhét Min, Max vào để Remote xài
                    tx_packets_buffer[pkt_id].min_adc       = local_min;
                    tx_packets_buffer[pkt_id].max_adc       = local_max;

                    uint16_t start_index = pkt_id * ADC_SAMPLES_PER_PACKET;

                    // Chép 8 mẫu ADC vào gói
                    for(uint8_t i = 0; i < ADC_SAMPLES_PER_PACKET; i++)
                    {
                        tx_packets_buffer[pkt_id].samples[i] = adc_copy[start_index + i];
                    }
                }

                packets_to_send = ADC_TOTAL_PACKETS;
                current_packet_idx = 0;
                retry_count = 0;
                last_tx_time = HAL_GetTick();
            }
    // FIX: KIỂM TRA TIMEOUT TOÀN FRAME (1.5 giây)

    if (tx_frame_active && packets_to_send > 0)
    {
        if (HAL_GetTick() - last_tx_time >=1)
        {
            NRF24_stopListening();
            ok = NRF24_write(&tx_packets_buffer[current_packet_idx], sizeof(FeedbackPacket_t));
            NRF24_startListening();

            if (ok) {
                current_packet_idx++;
                packets_to_send--;
                retry_count = 0;
                // === THÊM DÒNG NÀY ĐỂ GIẢI QUYẾT LỖI TIMEOUT (CÁCH 1) ===
                                // Reset bộ đếm an toàn vì đã nhận được gói tin ACK phần cứng từ Remote
                 last_remote_heartbeat_tick = HAL_GetTick();
            } else {
                retry_count++;
                fail_count++;
                if (retry_count >= 3) {
                	NRF24_stopListening();
                	NRF24_flush_tx();                   // Xả packet lỗi khỏi FIFO
                    NRF24_write_register(0x07, 0x70);  // Xóa MAX_RT + TX_DS + RX_DR
                    NRF24_startListening();

                    current_packet_idx++;
                    packets_to_send--;
                    retry_count = 0;
                }

            }
            last_tx_time = HAL_GetTick();
        }
    }

    if (tx_frame_active && packets_to_send == 0)
    {
        tx_frame_active = 0;
        tx_frame_done = 1;
        Start_ADC_Capture_200Samples();
    }
}
void HAL_ADC_ConvCpltCallback(ADC_HandleTypeDef* hadc)
{
    if(hadc->Instance == ADC1)
    {
        HAL_TIM_Base_Stop(&htim3);      // dừng trigger timer
        HAL_ADC_Stop_DMA(&hadc1);       // dừng DMA ADC

        adc_busy = 0;
        adc_ready = 1;
        adc_frame_id++;

        tx_frame_done = 0;
    }
}
void Task_SVM_Background(void)
{
    if (svm_need_rebuild)
    {
        svm_need_rebuild = 0;
        Build_SVM_Table(freq_run);
        // ==========================================================
                // CẬP NHẬT TIMER 3 ĐỂ ĐỒNG BỘ TỐC ĐỘ LẤY MẪU ADC
                // Mục tiêu: 200 điểm ADC = 2 chu kỳ sóng ngõ ra
                // ==========================================================
        if (system_state.wave_select == 0)
        {
               float f_out = freq_run;

                // 1. Chống lỗi chia cho 0 hoặc tần số quá nhỏ
                if (f_out < 0.1f) f_out = 0.1f;

                // 2. Tính toán giá trị thanh ghi ARR mới
                // F_timer_in = 64MHz. Prescaler = 63 -> F_count = 1MHz.
                // F_sample cần = 100 * f_out.
                // ARR = (1,000,000 / (100 * f_out)) - 1 = (10000 / f_out) - 1
                uint32_t new_arr = (uint32_t)(10000.0f / f_out) - 1;

                // 3. Bảo vệ tràn bộ đệm (Timer 3 là 16-bit, max 65535)
                // Với dải 4Hz -> 50Hz, ARR dao động từ 2499 -> 199 nên rất an toàn
                if (new_arr > 65535) new_arr = 65535;

                // 4. Ghi trực tiếp vào thanh ghi ARR của Timer 3 (Macro của HAL)
                __HAL_TIM_SET_AUTORELOAD(&htim3, new_arr);
            }
        }
    }

void Start_ADC_Capture_200Samples(void)
{
    if (adc_busy) return;

    adc_busy = 1;
    adc_ready = 0;

    memset(adc_buffer, 0, sizeof(adc_buffer));

    HAL_TIM_Base_Stop(&htim3);
    __HAL_TIM_SET_COUNTER(&htim3, 0);

    HAL_ADC_Stop_DMA(&hadc1);
    __HAL_ADC_CLEAR_FLAG(&hadc1, ADC_FLAG_EOC);

    // =======================================================
    // CHỌN KÊNH ĐỘNG: Lái ADC tới đúng chân cảm biến đang cần
    // =======================================================
    ADC_ChannelConfTypeDef sConfig = {0};
    sConfig.Rank = ADC_REGULAR_RANK_1;
    sConfig.SamplingTime = ADC_SAMPLETIME_1CYCLE_5;

    switch (system_state.wave_select)
    {
            case 0: sConfig.Channel = ADC_CHANNEL_1; break; // Pha A
            case 1: sConfig.Channel = ADC_CHANNEL_2; break; // Pha B
            case 2: sConfig.Channel = ADC_CHANNEL_5; break; // Pha C
            default: sConfig.Channel = ADC_CHANNEL_1; break;
    }

    // Nạp cấu hình kênh mới vào phần cứng
    HAL_ADC_ConfigChannel(&hadc1, &sConfig);
    // =======================================================

    // Kích hoạt DMA, bây giờ nó chỉ lấy đúng 200 điểm của kênh vừa chọn
    HAL_ADC_Start_DMA(&hadc1, (uint32_t*)adc_buffer, ADC_TOTAL_SAMPLES);
    HAL_TIM_Base_Start(&htim3);
}
void Calculate_Actual_Params(uint16_t *buffer, float f_set, float *out_freq_act, float *out_val, uint8_t sel)
{
    uint32_t sum_adc = 0;
    for (int i = 0; i < ADC_TOTAL_SAMPLES; i++) sum_adc += buffer[i];

    float dc_offset_adc = (float)sum_adc / (float)ADC_TOTAL_SAMPLES;

    float sum_sq = 0.0f;
    for (int i = 0; i < ADC_TOTAL_SAMPLES; i++)
    {
        float diff = (float)buffer[i] - dc_offset_adc;
        sum_sq += (diff * diff);
    }
    float rms_adc = sqrtf(sum_sq / (float)ADC_TOTAL_SAMPLES);

    // Tính thô ra Volt tại chân vi điều khiển
    float rms_volts = (rms_adc * 3.3f) / 4095.0f;       // RMS của thành phần xoay chiều (AC)
    float avg_volts = (dc_offset_adc * 3.3f) / 4095.0f; // Giá trị trung bình DC

    // Cả 3 pha dùng chung 1 công thức vi sai phần cứng
        *out_val = rms_volts / (8.2f * 0.68f * 0.025f);

        // =======================================================
        // TÍNH TẦN SỐ THỰC TẾ BẰNG THUẬT TOÁN ZERO-CROSSING
        // =======================================================
      static  float smooth_adc[ADC_TOTAL_SAMPLES];
                smooth_adc[0] = (float)buffer[0];
                smooth_adc[1] = (float)buffer[1];
                smooth_adc[ADC_TOTAL_SAMPLES - 2] = (float)buffer[ADC_TOTAL_SAMPLES - 2];
                smooth_adc[ADC_TOTAL_SAMPLES - 1] = (float)buffer[ADC_TOTAL_SAMPLES - 1];

                // Lọc mượt 5 điểm
                for (int i = 2; i < ADC_TOTAL_SAMPLES - 2; i++) {
                    smooth_adc[i] = ((float)buffer[i-2] + (float)buffer[i-1] + (float)buffer[i] +
                                     (float)buffer[i+1] + (float)buffer[i+2]) / 5.0f;
                }

                // Tạo 2 vạch Hysteresis (tránh bậc thang)
                float peak_amplitude = rms_adc * 1.414f;
                float hysteresis = peak_amplitude * 0.20f;
                float thresh_high = dc_offset_adc + hysteresis;
                float thresh_low  = dc_offset_adc - hysteresis;

                float first_cross = -1.0f;
                float last_cross = -1.0f;
                int cycles = 0;
                uint8_t current_state = (smooth_adc[0] > dc_offset_adc) ? 1 : 0;

                for (int i = 1; i < ADC_TOTAL_SAMPLES; i++)
                {
                    if (current_state == 0 && smooth_adc[i] > thresh_high)
                    {
                        current_state = 1;
                        float v1 = smooth_adc[i-1];
                        float v2 = smooth_adc[i];
                        if (v2 != v1)
                        {
                            float cross_idx = (i - 1) + (thresh_high - v1) / (v2 - v1);
                            if (first_cross < 0.0f) first_cross = cross_idx;
                            last_cross = cross_idx;
                            cycles++;
                        }
                    }
                    else if (current_state == 1 && smooth_adc[i] < thresh_low)
                    {
                        current_state = 0;
                    }
                }

                if (cycles >= 2 && first_cross >= 0.0f) {
                    float points_per_cycle = (last_cross - first_cross) / (cycles - 1);
                    *out_freq_act = (100.0f * f_set) / points_per_cycle;

                    // Loại trừ rác đo đạc
                    if (*out_freq_act > 60.0f || *out_freq_act < 2.0f) {
                         *out_freq_act = f_set;
                    }
                } else {
                    *out_freq_act = f_set;
                }
        }
/* USER CODE BEGIN 4 */

// ============================================================
// HÀM PHỤC HỒI NRF24 KHẨN CẤP
// Gọi khi NRF24 bị stuck: xả FIFO + xóa cờ lỗi + restart
// ============================================================
static void NRF24_Recovery(void)
{
    NRF24_stopListening();

    // 1. Xả sạch cả TX FIFO (chứa packet lỗi) và RX FIFO
    NRF24_flush_tx();
    NRF24_flush_rx();

    // 2. Xóa tất cả cờ ngắt trong STATUS register (0x07)
    //    Bit 6=RX_DR, Bit 5=TX_DS, Bit 4=MAX_RT → ghi 1 để xóa
    //    0x70 = 0b0111_0000
    NRF24_write_register(0x07, 0x70);

    // 3. Chờ NRF24 ổn định
    HAL_Delay(5);

    // 4. Quay về chế độ lắng nghe
    NRF24_startListening();
}
void NRF24_Seek_And_Lock_Remote(void)
{
    LED_ON();

    while(1)
    {
        for(uint8_t i = 0; i < NUM_HOP_CHANNELS; i++)
        {
            current_receiver_channel = HOPPING_CHANNELS[i];

            // 1. CỤP TAI XUỐNG VỀ CHẾ ĐỘ STANDBY ĐỂ BỘ DAO ĐỘNG PLL ĐƯỢC PHÉP ĐỔI KÊNH
            NRF24_stopListening();

            // 2. CHUYỂN SANG KÊNH MỚI
            NRF24_setChannel(current_receiver_channel);
            NRF24_flush_rx();
            NRF24_write_register(0x07, 0x40); // Xóa cờ RX_DR bị kẹt nếu có
            // 3. VỂNH TAI LÊN NGHE Ở KÊNH MỚI
            NRF24_startListening();

            uint32_t listen_start = HAL_GetTick();
            while(HAL_GetTick() - listen_start < 500) // Đợi 250ms để bắt chắc chắn chu kỳ 100ms
            {
                if(NRF24_available())
                {
                    Payload_t rx;
                    memset(&rx, 0, sizeof(rx));
                    NRF24_read(&rx, sizeof(rx));

                    if(rx.cmd == 1)
                    {
                    	last_remote_heartbeat_tick = HAL_GetTick();
                        system_state.on_off = rx.state;
                        system_state.speed  = rx.speed;
                        system_state.wave_select = rx.wave_select;

                        if(system_state.on_off == 1)
                        {
                             target_freq = FREQ_MIN + (system_state.speed / 100.0f) * (FREQ_MAX - FREQ_MIN);
                             __HAL_TIM_MOE_ENABLE(&htim1);
                        }
                        else
                        {
                             target_freq = FREQ_MIN;
                             __HAL_TIM_MOE_DISABLE(&htim1);
                        }
                        freq_cmd = target_freq;

                        LED_OFF();
                        return; // Khóa thành công!
                    }
                }
            }
        }
    }
}
/* USER CODE END 4 */

void Error_Handler(void)
{
  __disable_irq();
  while (1)
  {
  }
}
